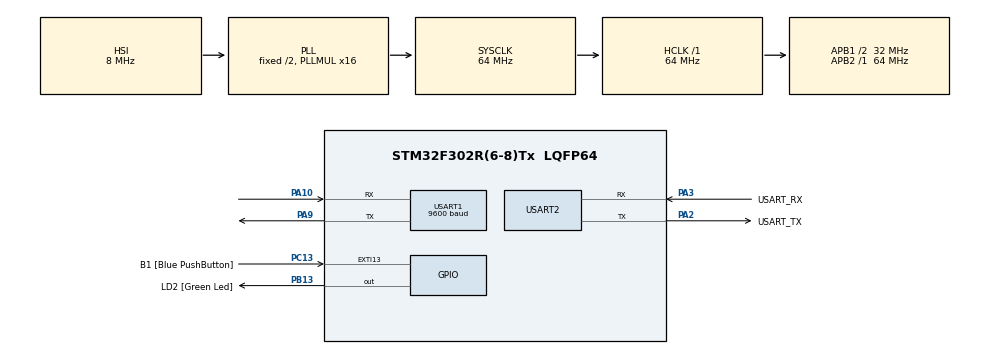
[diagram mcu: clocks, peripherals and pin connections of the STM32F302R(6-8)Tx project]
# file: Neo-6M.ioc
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Mcu.Family=STM32F3
Mcu.Name=STM32F302R(6-8)Tx
Mcu.Package=LQFP64
NVIC.PriorityGroup=NVIC_PRIORITYGROUP_0
NVIC.USART1_IRQn=true\:0\:0\:false\:false\:true\:true\:true\:true
PA10.Mode=Asynchronous
PA10.Signal=USART1_RX
PA13.GPIO_Label=TMS
PA13.Mode=Serial_Wire
PA13.Signal=SYS_JTMS-SWDIO
PA14.GPIO_Label=TCK
PA14.Mode=Serial_Wire
PA14.Signal=SYS_JTCK-SWCLK
PA2.GPIO_Label=USART_TX
PA2.GPIO_Mode=GPIO_MODE_AF_PP
PA2.GPIO_PuPd=GPIO_NOPULL
PA2.GPIO_Speed=GPIO_SPEED_FREQ_LOW
PA2.Mode=Asynchronous
PA2.Signal=USART2_TX
PA3.GPIO_Label=USART_RX
PA3.GPIO_Mode=GPIO_MODE_AF_PP
PA3.GPIO_PuPd=GPIO_NOPULL
PA3.GPIO_Speed=GPIO_SPEED_FREQ_LOW
PA3.Mode=Asynchronous
PA3.Signal=USART2_RX
PA9.Mode=Asynchronous
PA9.Signal=USART1_TX
PB13.GPIO_Label=LD2 [Green Led]
PB13.Signal=GPIO_Output
PB3.GPIO_Label=SWO
PB3.Mode=Trace_Asynchronous_SW
PB3.Signal=SYS_JTDO-TRACESWO
PC13.GPIO_Label=B1 [Blue PushButton]
PC13.GPIO_ModeDefaultEXTI=GPIO_MODE_IT_FALLING
PC13.Signal=GPXTI13
PC14\ -\ OSC32_IN.Mode=LSE-External-Oscillator
PC14\ -\ OSC32_IN.Signal=RCC_OSC32_IN
PC15\ -\ OSC32_OUT.Mode=LSE-External-Oscillator
PC15\ -\ OSC32_OUT.Signal=RCC_OSC32_OUT
PF0-OSC_IN.Mode=HSE-External-Clock-Source
PF0-OSC_IN.Signal=RCC_OSC_IN
PF1-OSC_OUT.Signal=RCC_OSC_OUT
ProjectManager.HeapSize=0x200
ProjectManager.StackSize=0x400
ProjectManager.TargetToolchain=STM32CubeIDE
RCC.AHBFreq_Value=64000000
RCC.APB1CLKDivider=RCC_HCLK_DIV2
RCC.APB1Freq_Value=32000000
RCC.APB1TimFreq_Value=64000000
RCC.APB2Freq_Value=64000000
RCC.APB2TimFreq_Value=64000000
RCC.CortexFreq_Value=64000000
RCC.HCLKFreq_Value=64000000
RCC.HSE_VALUE=8000000
RCC.HSI_VALUE=8000000
RCC.PLLM=8
RCC.PLLMUL=RCC_PLL_MUL16
RCC.PLLN=336
RCC.PLLP=RCC_PLLP_DIV4
RCC.PLLQ=7
RCC.RCC_PLLsource_Clock_Source_FROM_HSE=RCC_HSE_PREDIV_DIV2
RCC.SYSCLKFreq_VALUE=64000000
RCC.SYSCLKSourceVirtual=RCC_SYSCLKSOURCE_PLLCLK
RCC.USBFreq_Value=64000000
USART1.BaudRate=9600
USART1.VirtualMode-Asynchronous=VM_ASYNC
USART2.VirtualMode-Asynchronous=VM_ASYNC
board=NUCLEO-F302R8

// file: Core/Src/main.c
/* USER CODE BEGIN Header */
/**
  ******************************************************************************
  * @file           : main.c
  * @brief          : Main program body
  ******************************************************************************
  * @attention
  *
  * Copyright (c) 2023 STMicroelectronics.
  * All rights reserved.
  *
  * This software is licensed under terms that can be found in the LICENSE file
  * in the root directory of this software component.
  * If no LICENSE file comes with this software, it is provided AS-IS.
  *
  ******************************************************************************
  */
/* USER CODE END Header */
#include "main.h"

/* USER CODE BEGIN PTD */
  HAL_StatusTypeDef ret = HAL_OK; // This is for use in a Clear buffer function, to check if Uart is ready.
  char cmd[100] = "command \r\n";
  char TermMsg[100] = "Message to terminal \r\n";
  uint8_t RecievedData[700] = {0};
  uint8_t c[2] = {0};
/* USER CODE END PTD */

kmfkemfkmkefmkemfkm

UART_HandleTypeDef huart1;
UART_HandleTypeDef huart2;

void SystemClock_Config(void);
static void MX_GPIO_Init(void);
static void MX_USART1_UART_Init(void);
static void MX_USART2_UART_Init(void);

int main(void)
{

  /* MCU Configuration--------------------------------------------------------*/

  /* Reset of all peripherals, Initializes the Flash interface and the Systick. */
  HAL_Init();

  /* Configure the system clock */
  SystemClock_Config();

  /* Initialize all configured peripherals */
  MX_GPIO_Init();
  MX_USART1_UART_Init();
  MX_USART2_UART_Init();
  /* USER CODE BEGIN 2 */

  ClearBuffer();
  /* USER CODE END 2 */

  /* Infinite loop */
  while (1)
  {

    /* USER CODE BEGIN 3 */

	  //HAL_Delay(3000);
	  //HAL_UART_Transmit(&huart2, (uint8_t*)". ", 2, 10);
	  ClearBuffer();
	  HAL_UART_Receive_IT(&huart1, RecievedData, 700);
  }
  /* USER CODE END 3 */
}

void SystemClock_Config(void)
{
  RCC_OscInitTypeDef RCC_OscInitStruct = {0};
  RCC_ClkInitTypeDef RCC_ClkInitStruct = {0};
  RCC_PeriphCLKInitTypeDef PeriphClkInit = {0};

  /** Initializes the RCC Oscillators according to the specified parameters
  * in the RCC_OscInitTypeDef structure.
  */
  RCC_OscInitStruct.OscillatorType = RCC_OSCILLATORTYPE_HSI;
  RCC_OscInitStruct.HSIState = RCC_HSI_ON;
  RCC_OscInitStruct.HSICalibrationValue = RCC_HSICALIBRATION_DEFAULT;
  RCC_OscInitStruct.PLL.PLLState = RCC_PLL_ON;
  RCC_OscInitStruct.PLL.PLLSource = RCC_PLLSOURCE_HSI;
  RCC_OscInitStruct.PLL.PLLMUL = RCC_PLL_MUL16;
  if (HAL_RCC_OscConfig(&RCC_OscInitStruct) != HAL_OK)
  {
    Error_Handler();
  }

  /** Initializes the CPU, AHB and APB buses clocks
  */
  RCC_ClkInitStruct.ClockType = RCC_CLOCKTYPE_HCLK|RCC_CLOCKTYPE_SYSCLK
                              |RCC_CLOCKTYPE_PCLK1|RCC_CLOCKTYPE_PCLK2;
  RCC_ClkInitStruct.SYSCLKSource = RCC_SYSCLKSOURCE_PLLCLK;
  RCC_ClkInitStruct.AHBCLKDivider = RCC_SYSCLK_DIV1;
  RCC_ClkInitStruct.APB1CLKDivider = RCC_HCLK_DIV2;
  RCC_ClkInitStruct.APB2CLKDivider = RCC_HCLK_DIV1;

  if (HAL_RCC_ClockConfig(&RCC_ClkInitStruct, FLASH_LATENCY_2) != HAL_OK)
  {
    Error_Handler();
  }
  PeriphClkInit.PeriphClockSelection = RCC_PERIPHCLK_USART1;
  PeriphClkInit.Usart1ClockSelection = RCC_USART1CLKSOURCE_PCLK1;
  if (HAL_RCCEx_PeriphCLKConfig(&PeriphClkInit) != HAL_OK)
  {
    Error_Handler();
  }
}

static void MX_USART1_UART_Init(void)
{

  huart1.Instance = USART1;
  huart1.Init.BaudRate = 9600;
  huart1.Init.WordLength = UART_WORDLENGTH_8B;
  huart1.Init.StopBits = UART_STOPBITS_1;
  huart1.Init.Parity = UART_PARITY_NONE;
  huart1.Init.Mode = UART_MODE_TX_RX;
  huart1.Init.HwFlowCtl = UART_HWCONTROL_NONE;
  huart1.Init.OverSampling = UART_OVERSAMPLING_16;
  huart1.Init.OneBitSampling = UART_ONE_BIT_SAMPLE_DISABLE;
  huart1.AdvancedInit.AdvFeatureInit = UART_ADVFEATURE_NO_INIT;
  if (HAL_UART_Init(&huart1) != HAL_OK)
  {
    Error_Handler();
  }

}

static void MX_USART2_UART_Init(void)
{

  huart2.Instance = USART2;
  huart2.Init.BaudRate = 38400;
  huart2.Init.WordLength = UART_WORDLENGTH_8B;
  huart2.Init.StopBits = UART_STOPBITS_1;
  huart2.Init.Parity = UART_PARITY_NONE;
  huart2.Init.Mode = UART_MODE_TX_RX;
  huart2.Init.HwFlowCtl = UART_HWCONTROL_NONE;
  huart2.Init.OverSampling = UART_OVERSAMPLING_16;
  huart2.Init.OneBitSampling = UART_ONE_BIT_SAMPLE_DISABLE;
  huart2.AdvancedInit.AdvFeatureInit = UART_ADVFEATURE_NO_INIT;
  if (HAL_UART_Init(&huart2) != HAL_OK)
  {
    Error_Handler();
  }

}

static void MX_GPIO_Init(void)
{
  GPIO_InitTypeDef GPIO_InitStruct = {0};

  /* GPIO Ports Clock Enable */
  __HAL_RCC_GPIOC_CLK_ENABLE();
  __HAL_RCC_GPIOF_CLK_ENABLE();
  __HAL_RCC_GPIOA_CLK_ENABLE();
  __HAL_RCC_GPIOB_CLK_ENABLE();

  /*Configure GPIO pin Output Level */
  HAL_GPIO_WritePin(LD2_GPIO_Port, LD2_Pin, GPIO_PIN_RESET);

  /*Configure GPIO pin : B1_Pin */
  GPIO_InitStruct.Pin = B1_Pin;
  GPIO_InitStruct.Mode = GPIO_MODE_IT_FALLING;
  GPIO_InitStruct.Pull = GPIO_NOPULL;
  HAL_GPIO_Init(B1_GPIO_Port, &GPIO_InitStruct);

  /*Configure GPIO pin : LD2_Pin */
  GPIO_InitStruct.Pin = LD2_Pin;
  GPIO_InitStruct.Mode = GPIO_MODE_OUTPUT_PP;
  GPIO_InitStruct.Pull = GPIO_NOPULL;
  GPIO_InitStruct.Speed = GPIO_SPEED_FREQ_LOW;
  HAL_GPIO_Init(LD2_GPIO_Port, &GPIO_InitStruct);

}

/* USER CODE BEGIN 4 */
void HAL_UART_RxCpltCallback(UART_HandleTypeDef *huart)
	{
	// This has been soft defined in HAL, and can be redefined here.
	HAL_UART_Receive_IT(&huart1, RecievedData, 300);
	HAL_UART_Transmit(&huart2, (uint8_t*)"Interrupt received data: ", 25, 100);
	HAL_UART_Transmit(&huart2, RecievedData,  strlen(RecievedData), 100);
	HAL_UART_Transmit(&huart2, (uint8_t*)"\r\n\r\n", 2, 100);
	memset(RecievedData,0, 30);
	HAL_UART_Receive_IT (&huart1, RecievedData, 30);		//re-starting interrupt
	}

void ClearBuffer(void){
	// Clear RN2483 UART buffer before main code execution.
	// HAL_TIMEOUT is received when HAL_UART_Receive is  not done receiving.
	// huart->TxXferCount will then contain the value of bytes left to be received.
	// If size of received data is less than 1 byte (= no data), HAL_TIMEOUT will be returned
	ret = HAL_OK;
	while (ret != HAL_TIMEOUT) ret = HAL_UART_Receive(&huart1, c, 1, 100);	//RN2483 serial
}

void SendCommand(void)
{
	HAL_Delay(20);
	ClearBuffer();
	memset(RecievedData,0, 30);
	memset(cmd, 0, 100);
	HAL_UART_Transmit(&huart2, (uint8_t*)"Command: ", 10, 100);
	char cmd[100] = "$GPGLL\r\n";	// Get and print firmware version
	HAL_UART_Transmit(&huart1, (uint8_t*)cmd, strlen(cmd), 100);
	HAL_UART_Receive(&huart1, RecievedData, 200, 2000);
	HAL_UART_Transmit(&huart2, RecievedData, strlen(RecievedData), 100);
	HAL_UART_Transmit(&huart2, (uint8_t*)"\r\n\r\n", 2, 100);
}
void GetSatInfo(void)
{
	HAL_Delay(20);
	ClearBuffer();
	memset(RecievedData,0, 30);
	memset(cmd, 0, 100);
	HAL_UART_Transmit(&huart2, (uint8_t*)"Command: ", 10, 100);
	char cmd[100] = "$PSTDUMPALMANAC\r\n";	// Get and print firmware version
	HAL_UART_Transmit(&huart1, (uint8_t*)cmd, strlen(cmd), 100);
	HAL_UART_Receive(&huart1, RecievedData, 200, 2000);
	HAL_UART_Transmit(&huart2, RecievedData, strlen(RecievedData), 100);
	HAL_UART_Transmit(&huart2, (uint8_t*)"\r\n\r\n", 2, 100);
}
/* USER CODE END 4 */

void Error_Handler(void)
{
  __disable_irq();
  while (1)
  {
  }
}
